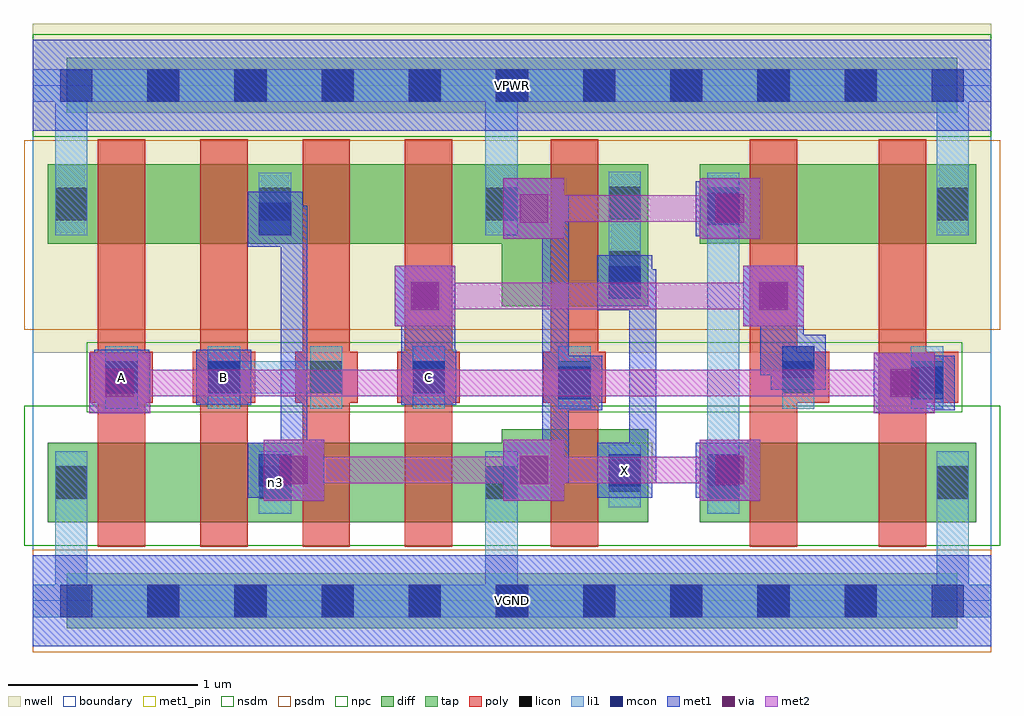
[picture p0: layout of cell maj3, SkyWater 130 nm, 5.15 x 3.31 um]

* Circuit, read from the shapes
.subckt maj3 A B C VGND VPWR X n3
XM1 n1 A VGND VGND sky130_fd_pr__nfet_01v8 w=0.42 l=0.25
XM2 n3 B n1 VGND sky130_fd_pr__nfet_01v8 w=0.42 l=0.25
XM3 n2 B n3 VGND sky130_fd_pr__nfet_01v8 w=0.42 l=0.25
XM4 VGND C n2 VGND sky130_fd_pr__nfet_01v8 w=0.42 l=0.25
XM5 X n3 VGND VGND sky130_fd_pr__nfet_01v8 w=0.49 l=0.25
XM6 n4 C n3 VGND sky130_fd_pr__nfet_01v8 w=0.42 l=0.25
XM7 VGND A n4 VGND sky130_fd_pr__nfet_01v8 w=0.42 l=0.25
XM8 n5 A VPWR VPWR sky130_fd_pr__pfet_01v8 w=0.42 l=0.25
XM9 n3 B n5 VPWR sky130_fd_pr__pfet_01v8 w=0.42 l=0.25
XM10 n6 B n3 VPWR sky130_fd_pr__pfet_01v8 w=0.42 l=0.25
XM11 VPWR C n6 VPWR sky130_fd_pr__pfet_01v8 w=0.42 l=0.25
XM12 X n3 VPWR VPWR sky130_fd_pr__pfet_01v8 w=0.75 l=0.25
XM13 n7 C n3 VPWR sky130_fd_pr__pfet_01v8 w=0.42 l=0.25
XM14 VPWR A n7 VPWR sky130_fd_pr__pfet_01v8 w=0.42 l=0.25
.ends

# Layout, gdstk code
import gdstk
lib = gdstk.Library(unit=1e-6, precision=1e-09)
def R(c, l, rs):  # rectangles x0, y0, x1, y1
    for r in rs: c.add(gdstk.rectangle(r[:2], r[2:], *l))
def A(c, l, x, y, w, h, nx, ny, dx, dy):  # array of equal rectangles
    R(c, l, [(x+i*dx, y+j*dy, x+i*dx+w, y+j*dy+h) for i in range(nx) for j in range(ny)])
nwell = (64, 20)
diff = (65, 20)
tap = (65, 44)
poly = (66, 20)
licon = (66, 44)
li1 = (67, 20)
mcon = (67, 44)
met1_pin = (68, 16)
met1 = (68, 20)
via = (68, 44)
met2 = (69, 20)
nsdm = (93, 44)
psdm = (94, 20)
npc = (95, 20)
boundary = (235, 4)

maj3 = lib.new_cell('maj3')
R(maj3, nwell, [(0,1.31,5.06,3.045)])
R(maj3, diff, [(0.08,0.415,2.475,0.835), (2.475,0.415,3.25,0.905), (3.52,0.415,4.98,0.835), (2.475,1.555,3.25,2.305), (0.08,1.885,2.475,2.305), (3.52,1.885,4.98,2.305)])
R(maj3, tap, [(0.18,-0.145,4.88,0.145), (0.18,2.575,4.88,2.865)])
A(maj3, poly, 0.345, 0.285, 0.25, 2.15, 4, 1, 0.54, 0)
A(maj3, poly, 0.305, 1.045, 0.33, 0.27, 4, 1, 0.54, 0)
R(maj3, poly, [(2.735,0.285,2.985,2.435), (3.785,0.285,4.035,2.435), (4.465,0.285,4.715,2.435), (2.695,1.045,3.025,1.315), (3.875,1.045,4.205,1.315), (4.555,1.045,4.885,1.315)])
A(maj3, licon, 0.605, -0.085, 0.17, 0.17, 9, 2, 0.46, 2.72)
A(maj3, licon, 0.385, 1.095, 0.17, 0.17, 4, 1, 0.54, 0)
R(maj3, licon, [(0.12,0.54,0.29,0.71), (1.195,0.54,1.365,0.71), (2.39,0.54,2.56,0.71), (3.56,0.54,3.73,0.71), (4.77,0.54,4.94,0.71), (3.04,0.575,3.21,0.745), (2.775,1.095,2.945,1.265), (3.955,1.095,4.125,1.265), (4.635,1.095,4.805,1.265), (3.04,1.675,3.21,1.845), (0.12,2.01,0.29,2.18), (1.195,2.01,1.365,2.18), (2.39,2.01,2.56,2.18), (3.56,2.01,3.73,2.18), (4.77,2.01,4.94,2.18), (3.04,2.015,3.21,2.185)])
A(maj3, li1, 0.385, 1.015, 0.17, 0.33, 4, 1, 0.54, 0)
R(maj3, li1, [(0,-0.085,5.06,0.085), (0.12,-0.085,0.29,0.79), (2.39,-0.085,2.56,0.79), (4.77,-0.085,4.94,0.79), (0.12,0.46,0.29,0.79), (1.195,0.46,1.365,0.79), (2.39,0.46,2.56,0.79), (3.56,0.46,3.73,0.79), (3.56,0.46,3.73,2.26), (4.77,0.46,4.94,0.79), (3.04,0.495,3.21,0.825), (2.775,1.015,2.945,1.345), (3.955,1.015,4.125,1.345), (4.635,1.015,4.805,1.345), (0.925,1.095,1.635,1.265), (3.04,1.595,3.21,2.265), (0.12,1.93,0.29,2.26), (0.12,1.93,0.29,2.805), (1.195,1.93,1.365,2.26), (2.39,1.93,2.56,2.26), (2.39,1.93,2.56,2.805), (3.56,1.93,3.73,2.26), (4.77,1.93,4.94,2.26), (4.77,1.93,4.94,2.805), (0,2.635,5.06,2.805)])
A(maj3, mcon, 0.145, -0.085, 0.17, 0.17, 11, 2, 0.46, 2.72)
R(maj3, mcon, [(1.195,0.605,1.365,0.775), (3.04,0.605,3.21,0.775), (3.56,0.605,3.73,0.775), (2.775,1.065,2.945,1.235), (4.635,1.065,4.805,1.235), (0.385,1.095,0.555,1.265), (0.925,1.095,1.095,1.265), (2.005,1.095,2.175,1.265), (3.955,1.175,4.125,1.345), (3.04,1.595,3.21,1.765), (1.195,1.93,1.365,2.1), (3.56,1.985,3.73,2.155)])
R(maj3, met1_pin, [(0,-0.24,5.06,0.24), (2.98,0.545,3.27,0.835), (0.325,1.035,0.615,1.325), (0.865,1.035,1.155,1.325), (1.945,1.035,2.235,1.325), (0,2.48,5.06,2.96)])
R(maj3, met1, [(0,-0.24,5.06,0.24), (1.22,0.53,1.54,0.85), (2.485,0.53,2.805,0.85), (3.52,0.53,3.84,0.85), (1.135,0.545,1.425,0.835), (2.98,0.545,3.27,0.835), (3.5,0.545,3.79,0.835), (1.21,0.62,1.45,0.76), (1.31,0.62,1.45,1.91), (2.575,0.62,2.83,0.76), (2.69,0.62,2.83,1.22), (3.055,0.62,3.29,0.76), (3.15,0.62,3.29,1.565), (3.575,0.62,3.75,0.76), (0.3,0.99,0.62,1.31), (4.44,0.99,4.76,1.31), (2.715,1.005,3.005,1.295), (4.575,1.005,4.865,1.295), (0.325,1.035,0.615,1.325), (0.865,1.035,1.155,1.325), (1.945,1.035,2.235,1.325), (0.39,1.08,0.53,1.22), (2,1.08,2.14,1.22), (2,1.08,2.14,1.68), (2.69,1.08,2.93,1.22), (2.69,1.08,2.83,2.14), (4.53,1.08,4.79,1.22), (3.895,1.115,4.185,1.405), (3.84,1.19,4.11,1.33), (3.84,1.19,3.98,1.45), (3.84,1.31,3.98,1.68), (1.945,1.325,2.23,1.45), (3.84,1.33,4.07,1.45), (3.895,1.405,4.07,1.45), (3.15,1.425,3.29,1.75), (1.91,1.45,2.23,1.77), (3.75,1.45,4.07,1.77), (2.98,1.535,3.27,1.825), (3.055,1.61,3.29,1.75), (1.31,1.77,1.45,2.085), (1.135,1.87,1.425,2.16), (2.485,1.91,2.805,2.23), (3.52,1.91,3.84,2.23), (3.5,1.925,3.79,2.215), (1.21,1.945,1.45,2.085), (2.575,2,2.83,2.14), (3.575,2,3.75,2.14), (0,2.48,5.06,2.96)])
R(maj3, via, [(1.305,0.615,1.455,0.765), (2.57,0.615,2.72,0.765), (3.605,0.615,3.755,0.765), (0.385,1.075,0.535,1.225), (4.525,1.075,4.675,1.225), (1.995,1.535,2.145,1.685), (3.835,1.535,3.985,1.685), (2.57,1.995,2.72,2.145), (3.605,1.995,3.755,2.145)])
R(maj3, met2, [(1.22,0.53,1.54,0.85), (2.485,0.53,2.805,0.85), (3.52,0.53,3.84,0.85), (1.31,0.62,2.715,0.76), (2.575,0.62,3.75,0.76), (0.3,0.99,0.62,1.31), (4.44,0.99,4.76,1.31), (0.39,1.08,4.67,1.22), (1.91,1.45,2.23,1.77), (3.75,1.45,4.07,1.77), (2,1.54,3.98,1.68), (2.485,1.91,2.805,2.23), (3.52,1.91,3.84,2.23), (2.575,2,3.75,2.14)])
R(maj3, nsdm, [(-0.045,0.29,5.105,1.03), (0,2.45,5.06,2.99)])
R(maj3, psdm, [(0,-0.27,5.06,0.27), (-0.045,1.43,5.105,2.43)])
R(maj3, npc, [(0.285,0.995,4.905,1.365)])
R(maj3, boundary, [(0,0,5.06,2.72)])
maj3.add(gdstk.Label('n3', (1.28,0.625), layer=67, texttype=5))
maj3.add(gdstk.Label('A', (0.47,1.18), layer=68, texttype=5))
maj3.add(gdstk.Label('B', (1.01,1.18), layer=68, texttype=5))
maj3.add(gdstk.Label('C', (2.09,1.18), layer=68, texttype=5))
maj3.add(gdstk.Label('X', (3.125,0.69), layer=68, texttype=5))
maj3.add(gdstk.Label('VPWR', (2.53,2.72), layer=68, texttype=5))
maj3.add(gdstk.Label('VGND', (2.53,0), layer=68, texttype=5))
maj3.add(gdstk.Label('A', (0.47,1.18), layer=68, texttype=16))
maj3.add(gdstk.Label('B', (1.01,1.18), layer=68, texttype=16))
maj3.add(gdstk.Label('C', (2.09,1.18), layer=68, texttype=16))
maj3.add(gdstk.Label('X', (3.125,0.69), layer=68, texttype=16))
maj3.add(gdstk.Label('VPWR', (2.53,2.72), layer=68, texttype=16))
maj3.add(gdstk.Label('VGND', (2.53,0), layer=68, texttype=16))

lib.write_gds('maj3.gds')
